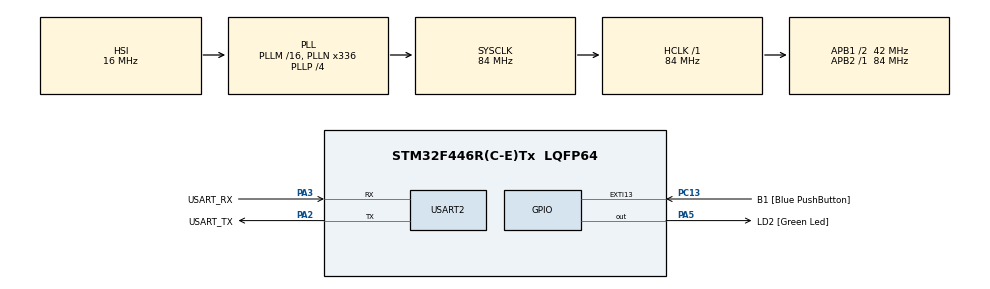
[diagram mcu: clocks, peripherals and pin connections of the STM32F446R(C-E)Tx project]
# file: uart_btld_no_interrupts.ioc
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Mcu.Family=STM32F4
Mcu.Name=STM32F446R(C-E)Tx
Mcu.Package=LQFP64
NVIC.PriorityGroup=NVIC_PRIORITYGROUP_0
PA13.GPIO_Label=TMS
PA13.Mode=Serial_Wire
PA13.Signal=SYS_JTMS-SWDIO
PA14.GPIO_Label=TCK
PA14.Mode=Serial_Wire
PA14.Signal=SYS_JTCK-SWCLK
PA2.GPIO_Label=USART_TX
PA2.Mode=Asynchronous
PA2.Signal=USART2_TX
PA3.GPIO_Label=USART_RX
PA3.Mode=Asynchronous
PA3.Signal=USART2_RX
PA5.GPIO_Label=LD2 [Green Led]
PA5.Signal=GPIO_Output
PB3.GPIO_Label=SWO
PB3.Signal=SYS_JTDO-SWO
PC13.GPIO_Label=B1 [Blue PushButton]
PC13.GPIO_ModeDefaultEXTI=GPIO_MODE_IT_FALLING
PC13.Signal=GPXTI13
PC14-OSC32_IN.Mode=LSE-External-Oscillator
PC14-OSC32_IN.Signal=RCC_OSC32_IN
PC15-OSC32_OUT.Mode=LSE-External-Oscillator
PC15-OSC32_OUT.Signal=RCC_OSC32_OUT
PH0-OSC_IN.Mode=HSE-External-Oscillator
PH0-OSC_IN.Signal=RCC_OSC_IN
PH1-OSC_OUT.Mode=HSE-External-Oscillator
PH1-OSC_OUT.Signal=RCC_OSC_OUT
ProjectManager.HeapSize=0x200
ProjectManager.StackSize=0x400
ProjectManager.TargetToolchain=TrueSTUDIO
RCC.48MHZClocksFreq_Value=84000000
RCC.AHBFreq_Value=84000000
RCC.APB1CLKDivider=RCC_HCLK_DIV2
RCC.APB1Freq_Value=42000000
RCC.APB1TimFreq_Value=84000000
RCC.APB2Freq_Value=84000000
RCC.APB2TimFreq_Value=84000000
RCC.CortexFreq_Value=84000000
RCC.FLatency-AdvancedSettings=FLASH_LATENCY_2
RCC.HCLKFreq_Value=84000000
RCC.HSE_VALUE=8000000
RCC.HSI_VALUE=16000000
RCC.PLLN=336
RCC.PLLP=RCC_PLLP_DIV4
RCC.SYSCLKFreq_VALUE=84000000
RCC.SYSCLKSource=RCC_SYSCLKSOURCE_PLLCLK
RCC.USBFreq_Value=168000000
RCC.VCOOutputFreq_Value=336000000
USART2.VirtualMode=VM_ASYNC
board=NUCLEO-F446RE

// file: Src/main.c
/* USER CODE BEGIN Header */
/**
  ******************************************************************************
  * @file           : main.c
  * @brief          : Main program body
  ******************************************************************************
  * @attention
  *
  * <h2><center>&copy; Copyright (c) 2019 STMicroelectronics.
  * All rights reserved.</center></h2>
  *
  * This software component is licensed by ST under BSD 3-Clause license,
  * the "License"; You may not use this file except in compliance with the
  * License. You may obtain a copy of the License at:
  *                        opensource.org/licenses/BSD-3-Clause
  *
  ******************************************************************************
  */
/* USER CODE END Header */

#include "main.h"
#include "usart.h"
#include "gpio.h"
#include "btld.h"
#include <stdlib.h>

/* USER CODE BEGIN PD */
#define UART USART2
#define APP_ADDRESS 0x8004000

void Flash_StartApplication(uint32_t startAddress)

{
SCB->VTOR = startAddress;
//__set_MSP(*(__IO uint32_t*)APP_ADDRESS);
asm("ldr SP,[r0,#0]");
asm("ldr PC,[r0,#4]");

}

void hal_independent_uart_send(char *message){
	char ctr= 0;
	char znak;
	for(ctr = 0; message[ctr]!=0; ctr++ ){
		znak = message[ctr];
		UART->DR = znak;
		while(((UART->SR)&(USART_SR_TC))==0);
	}

}

void hal_independent_uart_receive(char *message, char terminator ){
	char ctr=0;
	char znak;
	do{
		while(!((UART->SR)&(USART_SR_RXNE)));
		znak = UART->DR;
		message[ctr] = znak;
		ctr++;
	}while(znak != terminator);
	message[ctr-1] = 0;
}

char hal_independent_uart_get_one_byte(){
	  char znak;
	  while(((UART->SR)&(USART_SR_RXNE))==0);
	  znak = UART->DR;
	  return znak;
}

void erase_and_flash_sector_via_uart(){

	uint16_t app_size;
	uint32_t ctr = 0;
	uint32_t address= APP_ADDRESS;
	uint8_t znak;
	char msg[10];

	hal_independent_uart_send(" APP SIZE IN BYTES\n");
	hal_independent_uart_receive(msg, '\r');
	hal_independent_uart_send(msg);
	app_size = atoi(msg);
	hal_independent_flash_unlock();
	hal_independent_erase_flash_sector();
	while(ctr < app_size){
		znak = hal_independent_uart_get_one_byte();
		HAL_GPIO_TogglePin(LD2_GPIO_Port, LD2_Pin);
	  	hal_independent_write_flash_8(address ,znak);
	  	ctr++;
	  	address += 1;
	}
	hal_independent_flash_lock();
}

/* USER CODE END PD */

void SystemClock_Config(void);

int main(void)
{
  /* USER CODE BEGIN 1 */
	uint8_t znak;
  /* USER CODE END 1 */

  /* MCU Configuration--------------------------------------------------------*/

  /* Reset of all peripherals, Initializes the Flash interface and the Systick. */
  HAL_Init();

  /* Configure the system clock */
  SystemClock_Config();

  /* Initialize all configured peripherals */
  	  MX_GPIO_Init();
  	  MX_USART2_UART_Init();

  	  /* USER CODE BEGIN 2 */

  	znak = UART->DR;
  	hal_independent_uart_send(" AGH SOLAR BOAT BOOTLOADER\n");
  	hal_independent_uart_send("1-LOAD_APP\n2-JUMP TO APP:\n");
  	znak = hal_independent_uart_get_one_byte();
	if(znak=='1'){
		erase_and_flash_sector_via_uart();
	}
  	HAL_UART_DeInit(&huart2);

    HAL_RCC_DeInit();
    HAL_DeInit();

    Flash_StartApplication(APP_ADDRESS);

  /* USER CODE END 2 */

  /* Infinite loop */
  /* USER CODE BEGIN WHILE */
  while (1)
  {
	  HAL_GPIO_TogglePin(LD2_GPIO_Port, LD2_Pin);
	  HAL_Delay(200);
    /* USER CODE END WHILE */

  }

  /* USER CODE END 3 */
}

void SystemClock_Config(void)
{
  RCC_OscInitTypeDef RCC_OscInitStruct = {0};
  RCC_ClkInitTypeDef RCC_ClkInitStruct = {0};

  /** Configure the main internal regulator output voltage
  */
  __HAL_RCC_PWR_CLK_ENABLE();
  __HAL_PWR_VOLTAGESCALING_CONFIG(PWR_REGULATOR_VOLTAGE_SCALE3);
  /** Initializes the CPU, AHB and APB busses clocks
  */
  RCC_OscInitStruct.OscillatorType = RCC_OSCILLATORTYPE_HSI;
  RCC_OscInitStruct.HSIState = RCC_HSI_ON;
  RCC_OscInitStruct.HSICalibrationValue = RCC_HSICALIBRATION_DEFAULT;
  RCC_OscInitStruct.PLL.PLLState = RCC_PLL_ON;
  RCC_OscInitStruct.PLL.PLLSource = RCC_PLLSOURCE_HSI;
  RCC_OscInitStruct.PLL.PLLM = 16;
  RCC_OscInitStruct.PLL.PLLN = 336;
  RCC_OscInitStruct.PLL.PLLP = RCC_PLLP_DIV4;
  RCC_OscInitStruct.PLL.PLLQ = 2;
  RCC_OscInitStruct.PLL.PLLR = 2;
  if (HAL_RCC_OscConfig(&RCC_OscInitStruct) != HAL_OK)
  {
    Error_Handler();
  }
  /** Initializes the CPU, AHB and APB busses clocks
  */
  RCC_ClkInitStruct.ClockType = RCC_CLOCKTYPE_HCLK|RCC_CLOCKTYPE_SYSCLK
                              |RCC_CLOCKTYPE_PCLK1|RCC_CLOCKTYPE_PCLK2;
  RCC_ClkInitStruct.SYSCLKSource = RCC_SYSCLKSOURCE_PLLCLK;
  RCC_ClkInitStruct.AHBCLKDivider = RCC_SYSCLK_DIV1;
  RCC_ClkInitStruct.APB1CLKDivider = RCC_HCLK_DIV2;
  RCC_ClkInitStruct.APB2CLKDivider = RCC_HCLK_DIV1;

  if (HAL_RCC_ClockConfig(&RCC_ClkInitStruct, FLASH_LATENCY_2) != HAL_OK)
  {
    Error_Handler();
  }
}

void Error_Handler(void)
{
}

/************************ (C) COPYRIGHT STMicroelectronics *****END OF FILE****/
